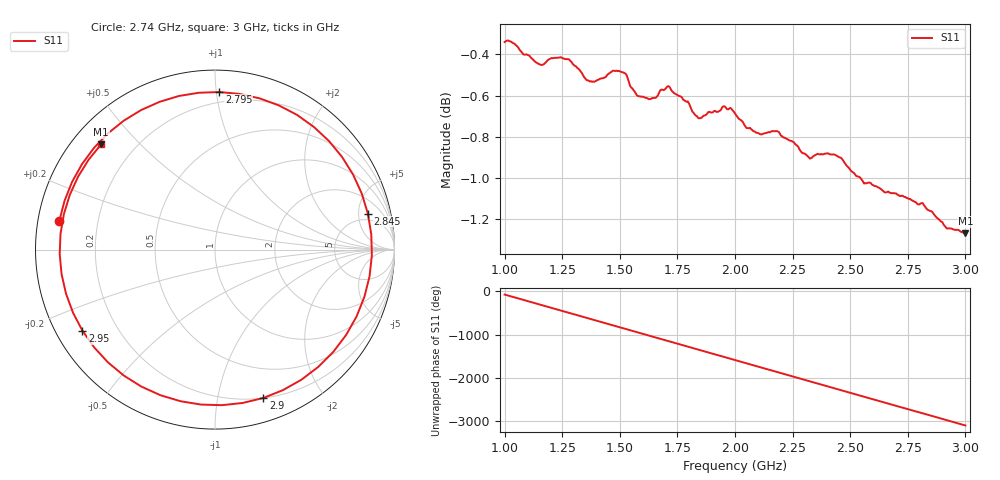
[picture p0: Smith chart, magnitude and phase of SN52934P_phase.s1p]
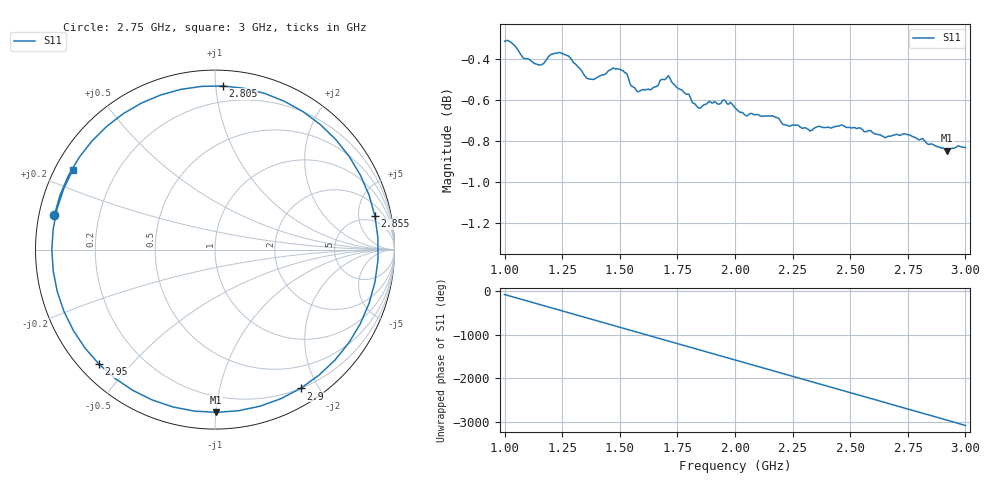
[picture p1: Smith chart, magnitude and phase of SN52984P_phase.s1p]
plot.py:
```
import skrf as rf
import matplotlib.pyplot as plt
import numpy as np
import re

#left to right
path1 = "SN52934P_phase.s1p"
path2 = "SN52984P_phase.s1p"
path3 = "SN52994P_phase.s1p"
path4 = "SN368354P_phase.s1p"


paths = [path1, path2, path3, path4]
color = ['tab:blue', 'tab:orange', 'tab:green', 'tab:red']

def plot_phase_of_wires():
    fig, ax1 = plt.subplots()
    #ax2 = ax1.twinx() 
    j = 0
    color = ['tab:blue', 'tab:orange', 'tab:green', 'tab:red']
    for i in paths:
        ntwk = rf.Network(i)  # Replace with your filename
        freq = ntwk.f  # frequency array
        s11 = ntwk.s[:,0,0]  # complex S11
        phase = np.angle(s11, deg=True)
        loss = -20 * np.log10(np.abs(s11))
        ax1.plot(freq, phase, label = i.split('_')[0], color = color[j])
        #ax2.plot(freq, loss, label = i, color = color[j])
        j += 1


    ax1.set_xlabel('Frequency (Hz)')
    ax1.set_ylabel('Phase (degrees)')
    ax1.legend()
    ax1.set_xlim(2e9, 3e9)
    ax1.tick_params(axis='y')

    # instantiate a second axes that shares the same x-axis
    color = 'tab:red'
    #ax2.set_ylabel('Return Loss (dB)')

    #ax2.tick_params(axis='y')

    plt.title('Phaseshift of s11 for all wires')
    plt.savefig("Pictures/PhaseShift_all.png", dpi=300, bbox_inches='tight')
    plt.show()


def plot_loss_of_wires():
    fig, ax1 = plt.subplots()
    #ax2 = ax1.twinx() 
    j = 0
    color = ['tab:blue', 'tab:orange', 'tab:green', 'tab:red']
    for i in paths:
        ntwk = rf.Network(i)  # Replace with your filename
        freq = ntwk.f  # frequency array
        s11 = ntwk.s[:,0,0]  # complex S11
        phase = np.angle(s11, deg=True)
        loss = -20 * np.log10(np.abs(s11))
        ax1.plot(freq, loss, label = i.split('_')[0], color = color[j])
        #ax2.plot(freq, loss, label = i, color = color[j])
        j += 1


    ax1.set_ylabel('Loss (dB)')
    ax1.set_xlabel('Frequency (Hz)')
    ax1.legend()
    ax1.set_xlim(2e9, 3e9)
    ax1.tick_params(axis='y')

    # instantiate a second axes that shares the same x-axis
    color = 'tab:red'
    #ax2.set_ylabel('Return Loss (dB)')

    #ax2.tick_params(axis='y')

    plt.title('S11 loss for all wires')
    plt.savefig("Pictures/Loss_all_wires.png", dpi=300, bbox_inches='tight')
    plt.show()
    

def print_loss_and_phaseshift_at_2_and_2_4ghz_and_2_6ghz():
    for i in paths:
        ntwk = rf.Network(i)  # Replace with your filename
        freq = ntwk.f  # frequency array
        s11 = ntwk.s[:,0,0]  # complex S11
        phase = np.angle(s11, deg=True)
        loss = -20 * np.log10(np.abs(s11))
        idx_2ghz = np.argmin(np.abs(freq - 2e9))
        idx_2_4ghz = np.argmin(np.abs(freq - 2.4e9))
        idx_2_6ghz = np.argmin(np.abs(freq - 2.6e9))
        print(f"{i.split('_')[0]}: Loss at 2 GHz: {loss[idx_2ghz]:.2f} dB, Phase shift at 2 GHz: {phase[idx_2ghz]:.2f} degrees")
        print(f"{i.split('_')[0]}: Loss at 2.4 GHz: {loss[idx_2_4ghz]:.2f} dB, Phase shift at 2.4 GHz: {phase[idx_2_4ghz]:.2f} degrees")
        print(f"{i.split('_')[0]}: Loss at 2.6 GHz: {loss[idx_2_6ghz]:.2f} dB, Phase shift at 2.6 GHz: {phase[idx_2_6ghz]:.2f} degrees")


plot_phase_of_wires()
plot_loss_of_wires()
print_loss_and_phaseshift_at_2_and_2_4ghz_and_2_6ghz()
```
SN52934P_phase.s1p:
!  02.03.2026  11:01:28
! Ref Plane: 0.000 mm
# MHZ S MA R  50
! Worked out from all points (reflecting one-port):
!   401 points, 1 GHz to 3 GHz, reference 50 ohm
!   lowest |S11| = -1.3 dB at 3 GHz (marker M1), VSWR 13.71, Z = 4.21 + j19.5 ohm
!   phase of S11 starts at -74 deg and turns -3029 deg over the sweep
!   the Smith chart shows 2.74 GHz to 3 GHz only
!   S11 on the Smith chart (normalised r, x): 2.74 GHz: 0.06, +0.09; 2.795 GHz: 0.13, +1.02; 2.845 GHz: 3.76, +6.44; 2.9 GHz: 0.20, -1.36; 2.95 GHz: 0.08, -0.28; 3 GHz: 0.08, +0.39
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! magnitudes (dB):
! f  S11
! 1 GHz  -0.3
! 1.37 GHz  -0.5
! 1.67 GHz  -0.6
! 1.715 GHz  -0.6
! 1.845 GHz  -0.7
! 1.98 GHz  -0.7
! 2.335 GHz  -0.9
! 2.435 GHz  -0.9
! 2.74 GHz  -1.1
! 2.795 GHz  -1.1
! 2.845 GHz  -1.2
! 2.9 GHz  -1.2
! 2.95 GHz  -1.3
! 3 GHz  -1.3
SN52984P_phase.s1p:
!  02.03.2026  11:04:29
! Ref Plane: 0.000 mm
# MHZ S MA R  50
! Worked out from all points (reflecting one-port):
!   401 points, 1 GHz to 3 GHz, reference 50 ohm
!   lowest |S11| = -0.8 dB at 2.92 GHz (marker M1), VSWR 20.50, Z = 4.91 - j50.2 ohm
!   phase of S11 starts at -70 deg and turns -3019 deg over the sweep
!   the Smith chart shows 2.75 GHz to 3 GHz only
!   S11 on the Smith chart (normalised r, x): 2.75 GHz: 0.04, +0.11; 2.805 GHz: 0.10, +1.04; 2.855 GHz: 3.72, +8.04; 2.9 GHz: 0.20, -1.77; 2.95 GHz: 0.06, -0.41; 3 GHz: 0.05, +0.26
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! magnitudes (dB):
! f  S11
! 1 GHz  -0.3
! 1.145 GHz  -0.4
! 1.265 GHz  -0.4
! 1.37 GHz  -0.5
! 1.67 GHz  -0.5
! 1.845 GHz  -0.6
! 2.335 GHz  -0.7
! 2.75 GHz  -0.8
! 2.805 GHz  -0.8
! 2.855 GHz  -0.8
! 2.9 GHz  -0.8
! 2.92 GHz  -0.8
! 2.95 GHz  -0.8
! 3 GHz  -0.8
